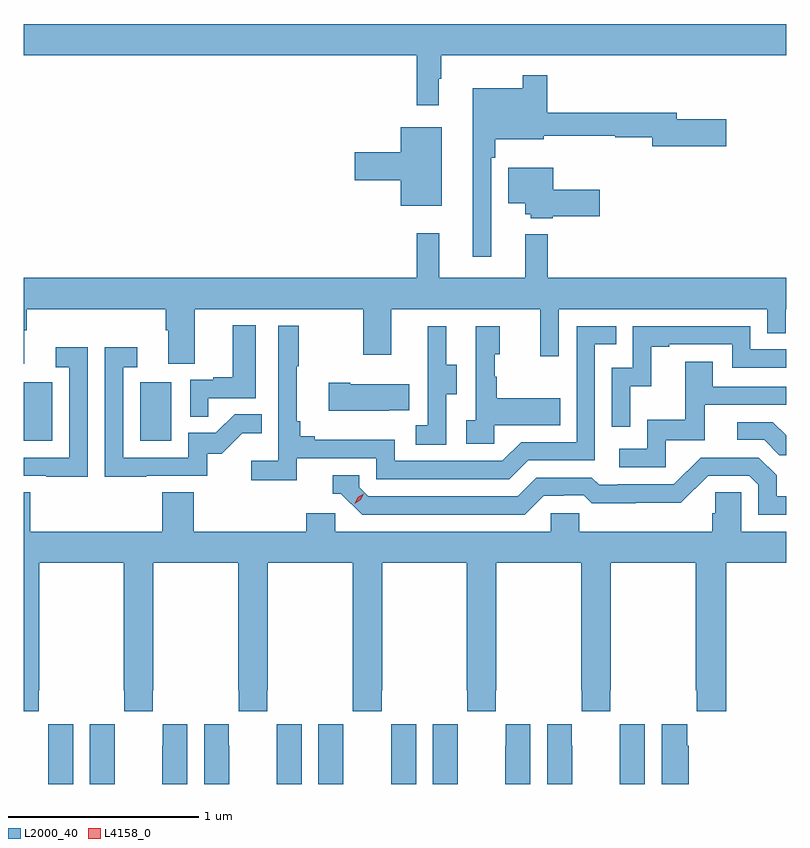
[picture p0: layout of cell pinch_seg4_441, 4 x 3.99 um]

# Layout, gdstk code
import gdstk
lib = gdstk.Library(unit=1e-6, precision=1e-09)
def R(c, l, rs):  # rectangles x0, y0, x1, y1
    for r in rs: c.add(gdstk.rectangle(r[:2], r[2:], *l))
def P(c, l, *ps):  # polygons
    for p in ps: c.add(gdstk.Polygon(p, *l))
L2000_40 = (2000, 40)
L4158_0 = (4158, 0)

pinch_seg4_441 = lib.new_cell('pinch_seg4_441')
R(pinch_seg4_441, L2000_40, [(899.53,789.468,899.68,789.775), (900.14,789.468,900.304,789.775)])
P(pinch_seg4_441, L2000_40, [(901.708,791.369),(901.72,791.369),(901.72,791.492),(903.53,791.492),(903.53,791.656),(899.53,791.656),(899.53,791.492),(901.591,791.492),(901.591,791.229),(901.708,791.229)],
  [(901.983,790.955),(902.003,790.955),(902.003,791.051),(902.257,791.051),(902.257,791.07),(902.632,791.07),(902.632,791.062),(902.828,791.062),(902.828,791.015),(903.217,791.015),(903.217,791.157),(902.956,791.157),(902.956,791.191),(902.276,791.191),(902.276,791.386),(902.148,791.386),(902.148,791.32),(901.886,791.32),(901.886,790.434),(901.983,790.434)],
  [(901.723,791.113),(901.508,791.113),(901.508,790.982),(901.266,790.982),(901.266,790.835),(901.508,790.835),(901.508,790.703),(901.723,790.703)],
  [(902.304,790.648),(902.551,790.648),(902.551,790.785),(902.308,790.785),(902.308,790.903),(902.072,790.903),(902.072,790.715),(902.162,790.715),(902.162,790.659),(902.19,790.659),(902.19,790.637),(902.304,790.637)],
  [(902.279,790.552),(902.162,790.552),(902.162,790.324),(901.709,790.324),(901.709,790.558),(901.591,790.558),(901.591,790.324),(899.53,790.324),(899.53,789.874),(899.533,789.874),(899.533,790.048),(899.546,790.048),(899.546,790.16),(900.275,790.16),(900.275,790.048),(900.287,790.048),(900.287,789.874),(900.427,789.874),(900.427,790.16),(901.312,790.16),(901.312,789.921),(901.459,789.921),(901.459,790.16),(902.24,790.16),(902.24,789.912),(902.337,789.912),(902.337,790.16),(903.432,790.16),(903.432,790.033),(903.528,790.033),(903.528,790.16),(903.53,790.16),(903.53,790.324),(902.279,790.324)],
  [(900.497,789.693),(900.748,789.693),(900.748,790.075),(900.626,790.075),(900.626,789.802),(900.523,789.802),(900.523,789.789),(900.402,789.789),(900.402,789.595),(900.497,789.595)],
  [(900.962,789.378),(901.38,789.378),(901.38,789.267),(902.077,789.267),(902.176,789.366),(902.526,789.366),(902.526,789.975),(902.639,789.975),(902.639,790.071),(902.43,790.071),(902.43,789.462),(902.139,789.462),(902.04,789.363),(901.476,789.363),(901.476,789.475),(901.057,789.475),(901.057,789.494),(900.98,789.494),(900.98,789.571),(900.961,789.571),(900.961,789.859),(900.973,789.859),(900.973,790.072),(900.864,790.072),(900.864,789.364),(900.723,789.364),(900.723,789.262),(900.962,789.262)],
  [(902.712,789.755),(902.822,789.755),(902.822,789.963),(902.917,789.963),(902.917,789.975),(903.246,789.975),(903.246,789.852),(903.53,789.852),(903.53,789.948),(903.342,789.948),(903.342,790.071),(902.724,790.071),(902.724,789.852),(902.616,789.852),(902.616,789.543),(902.712,789.543)],
  [(901.998,789.551),(902.345,789.551),(902.345,789.691),(902.011,789.691),(902.011,789.806),(902.001,789.806),(902.001,789.924),(902.026,789.924),(902.026,790.069),(901.902,790.069),(901.902,789.578),(901.851,789.578),(901.851,789.453),(901.998,789.453)],
  [(901.746,789.712),(901.801,789.712),(901.801,789.867),(901.747,789.867),(901.747,790.069),(901.649,790.069),(901.649,789.855),(901.65,789.855),(901.65,789.551),(901.587,789.551),(901.587,789.448),(901.746,789.448)],
  [(899.865,789.961),(899.697,789.961),(899.697,789.855),(899.769,789.855),(899.769,789.381),(899.53,789.381),(899.53,789.285),(899.647,789.285),(899.647,789.28),(899.865,789.28)],
  [(900.173,789.285),(900.492,789.285),(900.492,789.402),(900.568,789.402),(900.675,789.509),(900.779,789.509),(900.779,789.608),(900.636,789.608),(900.538,789.51),(900.393,789.51),(900.393,789.381),(900.051,789.381),(900.051,789.855),(900.124,789.855),(900.124,789.961),(899.955,789.961),(899.955,789.28),(900.173,789.28)],
  [(902.898,789.471),(903.103,789.471),(903.103,789.657),(903.53,789.657),(903.53,789.753),(903.145,789.753),(903.145,789.883),(903.001,789.883),(903.001,789.58),(902.802,789.58),(902.802,789.426),(902.655,789.426),(902.655,789.33),(902.898,789.33)],
  [(901.445,789.629),(901.553,789.629),(901.553,789.766),(901.243,789.766),(901.243,789.774),(901.131,789.774),(901.131,789.626),(901.445,789.626)],
  [(903.53,789.497),(903.46,789.567),(903.273,789.567),(903.273,789.474),(903.414,789.474),(903.494,789.394),(903.53,789.394)],
  [(902.257,789.18),(902.364,789.18),(902.364,789.183),(902.467,789.183),(902.509,789.141),(902.742,789.141),(902.742,789.143),(902.978,789.143),(903.12,789.285),(903.336,789.285),(903.384,789.237),(903.384,789.081),(903.53,789.081),(903.53,789.177),(903.481,789.177),(903.481,789.287),(903.387,789.381),(903.081,789.381),(902.94,789.24),(902.647,789.24),(902.647,789.237),(902.548,789.237),(902.509,789.276),(902.22,789.276),(902.121,789.177),(901.338,789.177),(901.29,789.225),(901.29,789.288),(901.151,789.288),(901.151,789.192),(901.194,789.192),(901.305,789.081),(902.158,789.081)],
  [(899.607,788.161),(899.61,788.161),(899.61,788.828),(900.055,788.828),(900.055,788.161),(900.057,788.161),(900.057,788.049),(900.207,788.049),(900.207,788.161),(900.21,788.161),(900.21,788.828),(900.655,788.828),(900.655,788.161),(900.657,788.161),(900.657,788.049),(900.807,788.049),(900.807,788.161),(900.81,788.161),(900.81,788.828),(901.255,788.828),(901.255,788.161),(901.257,788.161),(901.257,788.049),(901.407,788.049),(901.407,788.161),(901.41,788.161),(901.41,788.828),(901.855,788.828),(901.855,788.161),(901.857,788.161),(901.857,788.049),(902.007,788.049),(902.007,788.161),(902.01,788.161),(902.01,788.828),(902.455,788.828),(902.455,788.161),(902.457,788.161),(902.457,788.049),(902.607,788.049),(902.607,788.161),(902.61,788.161),(902.61,788.828),(903.055,788.828),(903.055,788.161),(903.061,788.161),(903.061,788.049),(903.215,788.049),(903.215,788.828),(903.53,788.828),(903.53,788.992),(903.294,788.992),(903.294,789.2),(903.157,789.2),(903.157,789.09),(903.143,789.09),(903.143,788.992),(902.445,788.992),(902.445,789.09),(902.295,789.09),(902.295,788.992),(901.164,788.992),(901.164,789.09),(901.013,789.09),(901.013,788.992),(900.422,788.992),(900.422,789.2),(900.257,789.2),(900.257,788.992),(899.564,788.992),(899.564,789.2),(899.53,789.2),(899.53,788.049),(899.607,788.049)],
  [(900.988,787.981),(900.858,787.981),(900.858,787.868),(900.857,787.868),(900.857,787.668),(900.988,787.668)],
  [(900.607,787.868),(900.606,787.868),(900.606,787.981),(900.476,787.981),(900.476,787.668),(900.607,787.668)],
  [(900.007,787.868),(900.006,787.868),(900.006,787.981),(899.876,787.981),(899.876,787.668),(900.007,787.668)],
  [(903.02,787.868),(903.01,787.868),(903.01,787.981),(902.876,787.981),(902.876,787.668),(903.02,787.668)],
  [(899.788,787.981),(899.658,787.981),(899.658,787.868),(899.657,787.868),(899.657,787.668),(899.788,787.668)],
  [(901.207,787.868),(901.206,787.868),(901.206,787.981),(901.076,787.981),(901.076,787.668),(901.207,787.668)],
  [(901.588,787.981),(901.458,787.981),(901.458,787.868),(901.457,787.868),(901.457,787.668),(901.588,787.668)],
  [(901.807,787.868),(901.806,787.868),(901.806,787.981),(901.676,787.981),(901.676,787.668),(901.807,787.668)],
  [(902.188,787.981),(902.058,787.981),(902.058,787.868),(902.057,787.868),(902.057,787.668),(902.188,787.668)],
  [(900.388,787.981),(900.258,787.981),(900.258,787.868),(900.257,787.868),(900.257,787.668),(900.388,787.668)],
  [(902.407,787.868),(902.406,787.868),(902.406,787.981),(902.276,787.981),(902.276,787.668),(902.407,787.668)],
  [(902.788,787.981),(902.658,787.981),(902.658,787.868),(902.657,787.868),(902.657,787.668),(902.788,787.668)])
P(pinch_seg4_441, L4158_0, [(901.266,789.139),(901.266,789.139),(901.282,789.172),(901.313,789.192),(901.313,789.192),(901.313,789.192),(901.297,789.159),(901.267,789.139)])

lib.write_gds('pinch_seg4_441.gds')
